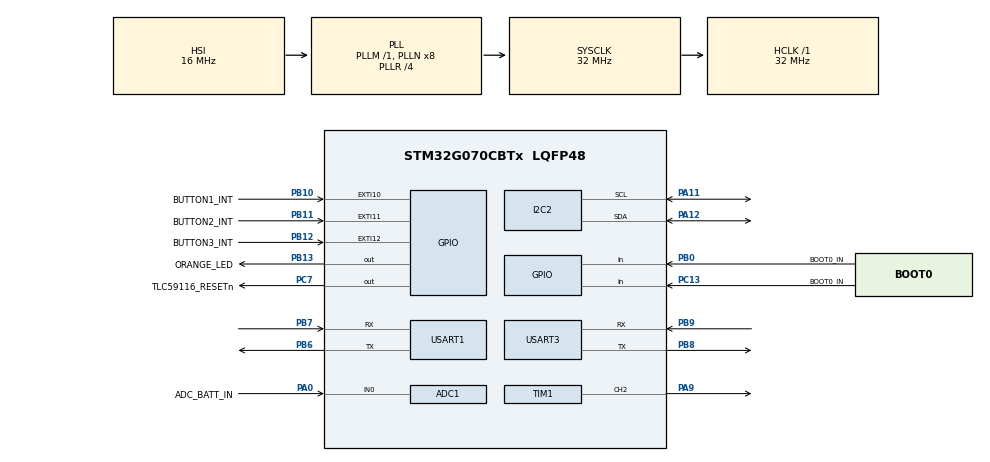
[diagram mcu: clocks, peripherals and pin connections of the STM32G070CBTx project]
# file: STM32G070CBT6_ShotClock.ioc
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ADC1.Channel-1\#ChannelRegularConversion=ADC_CHANNEL_0
ADC1.ClockPrescaler=ADC_CLOCK_ASYNC_DIV1
ADC1.NbrOfConversionFlag=1
ADC1.Rank-1\#ChannelRegularConversion=1
ADC1.SamplingTime-1\#ChannelRegularConversion=ADC_SAMPLINGTIME_COMMON_1
ADC1.SamplingTimeCommon1=ADC_SAMPLETIME_39CYCLES_5
ADC1.SamplingTimeCommon2=ADC_SAMPLETIME_39CYCLES_5
ADC1.SelectedChannel=ADC_CHANNEL_0|ADC_CHANNEL_VBAT
ADC1.master=1
I2C2.Timing=0x00B07CB4
Mcu.Family=STM32G0
Mcu.Name=STM32G070CBTx
Mcu.Package=LQFP48
NVIC.EXTI4_15_IRQn=true\:0\:0\:false\:false\:true\:true\:true\:true
NVIC.TIM6_IRQn=true\:0\:0\:false\:false\:true\:true\:true\:true
NVIC.USART1_IRQn=true\:0\:0\:false\:false\:true\:true\:true\:true
PA0.GPIO_Label=ADC_BATT_IN
PA0.Mode=IN0
PA0.Signal=ADC1_IN0
PA11\ [PA9].GPIO_Mode=GPIO_MODE_AF_OD
PA11\ [PA9].GPIO_Pu=GPIO_NOPULL
PA11\ [PA9].GPIO_Speed=GPIO_SPEED_FREQ_LOW
PA11\ [PA9].Mode=I2C
PA11\ [PA9].Signal=I2C2_SCL
PA12\ [PA10].GPIO_Mode=GPIO_MODE_AF_OD
PA12\ [PA10].GPIO_Pu=GPIO_NOPULL
PA12\ [PA10].GPIO_Speed=GPIO_SPEED_FREQ_LOW
PA12\ [PA10].Mode=I2C
PA12\ [PA10].Signal=I2C2_SDA
PA13.Mode=Serial_Wire
PA13.Signal=SYS_SWDIO
PA14-BOOT0.Mode=Serial_Wire
PA14-BOOT0.Signal=SYS_SWCLK
PA9.Signal=S_TIM1_CH2
PB0.GPIO_Label=BOOT0_IN
PB0.Signal=GPIO_Input
PB10.GPIO_Label=BUTTON1_INT
PB10.GPIO_ModeDefaultEXTI=GPIO_MODE_IT_FALLING
PB10.Signal=GPXTI10
PB11.GPIO_Label=BUTTON2_INT
PB11.GPIO_ModeDefaultEXTI=GPIO_MODE_IT_FALLING
PB11.Signal=GPXTI11
PB12.GPIO_Label=BUTTON3_INT
PB12.GPIO_ModeDefaultEXTI=GPIO_MODE_IT_FALLING
PB12.Signal=GPXTI12
PB13.GPIO_Label=ORANGE_LED
PB13.GPIO_ModeDefaultOutputPP=GPIO_MODE_OUTPUT_PP
PB13.GPIO_PuPd=GPIO_NOPULL
PB13.Signal=GPIO_Output
PB6.Mode=Asynchronous
PB6.Signal=USART1_TX
PB7.Mode=Asynchronous
PB7.Signal=USART1_RX
PB8.Mode=Asynchronous
PB8.Signal=USART3_TX
PB9.Mode=Asynchronous
PB9.Signal=USART3_RX
PC13.GPIO_Label=BOOT0_IN
PC13.Signal=GPIO_Input
PC7.GPIO_Label=TLC59116_RESETn
PC7.PinState=GPIO_PIN_SET
PC7.Signal=GPIO_Output
PF0-OSC_IN\ (PF0).Mode=HSE-External-Oscillator
PF0-OSC_IN\ (PF0).Signal=RCC_OSC_IN
PF1-OSC_OUT\ (PF1).Mode=HSE-External-Oscillator
PF1-OSC_OUT\ (PF1).Signal=RCC_OSC_OUT
ProjectManager.HeapSize=0x200
ProjectManager.StackSize=0x400
ProjectManager.TargetToolchain=STM32CubeIDE
RCC.ADCFreq_Value=32000000
RCC.AHBFreq_Value=32000000
RCC.CortexFreq_Value=32000000
RCC.EXTERNAL_CLOCK_VALUE=48000
RCC.HCLKFreq_Value=32000000
RCC.HSE_VALUE=16000000
RCC.HSI_VALUE=16000000
RCC.LSE_VALUE=32768
RCC.PLLP=RCC_PLLP_DIV4
RCC.PLLR=RCC_PLLR_DIV4
RCC.SYSCLKFreq_VALUE=32000000
RCC.SYSCLKSource=RCC_SYSCLKSOURCE_PLLCLK
RCC.VCOOutputFreq_Value=128000000
SH.S_TIM1_CH2.0=TIM1_CH2,PWM Generation2 CH2
TIM1.Break2Polarity=TIM_BREAK2POLARITY_LOW
TIM1.BreakPolarity=TIM_BREAKPOLARITY_LOW
TIM1.Channel-PWM\ Generation2\ CH2=TIM_CHANNEL_2
TIM1.OCPolarity_2=TIM_OCPOLARITY_LOW
TIM1.Period=100-1
TIM1.Prescaler=64-1
TIM6.Period=7500
TIM6.Prescaler=8399
USART1.VirtualMode-Asynchronous=VM_ASYNC
USART3.VirtualMode-Asynchronous=VM_ASYNC
VP_ADC1_Vbat_Input.Mode=IN-Vbat
VP_TIM1_VS_ClockSourceINT.Mode=Internal
VP_TIM6_VS_ClockSourceINT.Mode=Enable_Timer
board=custom

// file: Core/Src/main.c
/* USER CODE BEGIN Header */
/**
  ******************************************************************************
  * @file           : main.c
  * @brief          : Main program body
  ******************************************************************************
  * @attention
  *
  * Copyright (c) 2023 STMicroelectronics.
  * All rights reserved.
  *
  * This software is licensed under terms that can be found in the LICENSE file
  * in the root directory of this software component.
  * If no LICENSE file comes with this software, it is provided AS-IS.
  *
  ******************************************************************************
  */
/* USER CODE END Header */
#include "main.h"
#include "adc.h"
#include "i2c.h"
#include "tim.h"
#include "usart.h"
#include "gpio.h"

/* USER CODE BEGIN Includes */
#include "cli_setup.h"
#include "TLC59116.h"
#include "segment_display.h"
/* USER CODE END Includes */

/* USER CODE BEGIN PTD */
void HAL_GPIO_EXTI_Falling_Callback(uint16_t GPIO_Pin);
/* USER CODE END PTD */

/* USER CODE BEGIN PV */
volatile int number = 99; // Initial number

/* USER CODE END PV */

void SystemClock_Config(void);

int main(void)
{

  /* MCU Configuration--------------------------------------------------------*/

  /* Reset of all peripherals, Initializes the Flash interface and the Systick. */
  HAL_Init();

  /* Configure the system clock */
  SystemClock_Config();

  /* Initialize all configured peripherals */
  MX_GPIO_Init();
  MX_ADC1_Init();
  MX_USART1_UART_Init();
  MX_TIM1_Init();
  MX_I2C2_Init();
  MX_USART3_UART_Init();
  MX_TIM6_Init();
  /* USER CODE BEGIN 2 */

  setupCli();
  // I2C_Scan();
  TLC59116_Init();
  // Start the timer

  // int32_t CH2_DC = 0;

  // int delay_time = 50;
  //uint8_t TX_Buffer [] = "C" ;
  /* USER CODE END 2 */

  /* Infinite loop */
  while (1)
  {

    /* USER CODE BEGIN 3 */
      embeddedCliProcess(getCliPointer());
      SampleBatteryVoltage();
      HAL_Delay(1);
      // HAL_I2C_Master_Transmit(&hi2c2,10,TX_Buffer,1,1000); //Sending in Blocking mode

  }
  /* USER CODE END 3 */
}

void SystemClock_Config(void)
{
  RCC_OscInitTypeDef RCC_OscInitStruct = {0};
  RCC_ClkInitTypeDef RCC_ClkInitStruct = {0};

  /** Configure the main internal regulator output voltage
  */
  HAL_PWREx_ControlVoltageScaling(PWR_REGULATOR_VOLTAGE_SCALE1);

  /** Initializes the RCC Oscillators according to the specified parameters
  * in the RCC_OscInitTypeDef structure.
  */
  RCC_OscInitStruct.OscillatorType = RCC_OSCILLATORTYPE_HSI;
  RCC_OscInitStruct.HSIState = RCC_HSI_ON;
  RCC_OscInitStruct.HSIDiv = RCC_HSI_DIV1;
  RCC_OscInitStruct.HSICalibrationValue = RCC_HSICALIBRATION_DEFAULT;
  RCC_OscInitStruct.PLL.PLLState = RCC_PLL_ON;
  RCC_OscInitStruct.PLL.PLLSource = RCC_PLLSOURCE_HSI;
  RCC_OscInitStruct.PLL.PLLM = RCC_PLLM_DIV1;
  RCC_OscInitStruct.PLL.PLLN = 8;
  RCC_OscInitStruct.PLL.PLLP = RCC_PLLP_DIV4;
  RCC_OscInitStruct.PLL.PLLR = RCC_PLLR_DIV4;
  if (HAL_RCC_OscConfig(&RCC_OscInitStruct) != HAL_OK)
  {
    Error_Handler();
  }

  /** Initializes the CPU, AHB and APB buses clocks
  */
  RCC_ClkInitStruct.ClockType = RCC_CLOCKTYPE_HCLK|RCC_CLOCKTYPE_SYSCLK
                              |RCC_CLOCKTYPE_PCLK1;
  RCC_ClkInitStruct.SYSCLKSource = RCC_SYSCLKSOURCE_PLLCLK;
  RCC_ClkInitStruct.AHBCLKDivider = RCC_SYSCLK_DIV1;
  RCC_ClkInitStruct.APB1CLKDivider = RCC_HCLK_DIV1;

  if (HAL_RCC_ClockConfig(&RCC_ClkInitStruct, FLASH_LATENCY_1) != HAL_OK)
  {
    Error_Handler();
  }
}

/* USER CODE BEGIN 4 */

void HAL_GPIO_EXTI_Falling_Callback(uint16_t GPIO_Pin)  {
    cli_printf("Clicked with PIN: %u", GPIO_Pin);
    HAL_GPIO_TogglePin(ORANGE_LED_GPIO_Port, ORANGE_LED_Pin);
    for (uint8_t displayNumber = 1; displayNumber <= 4; displayNumber++) {
        SegmentDisp_SetCountdown(14, displayNumber);
    }
}

/* USER CODE END 4 */

void Error_Handler(void)
{
  __disable_irq();
  while (1)
  {
  }
}
